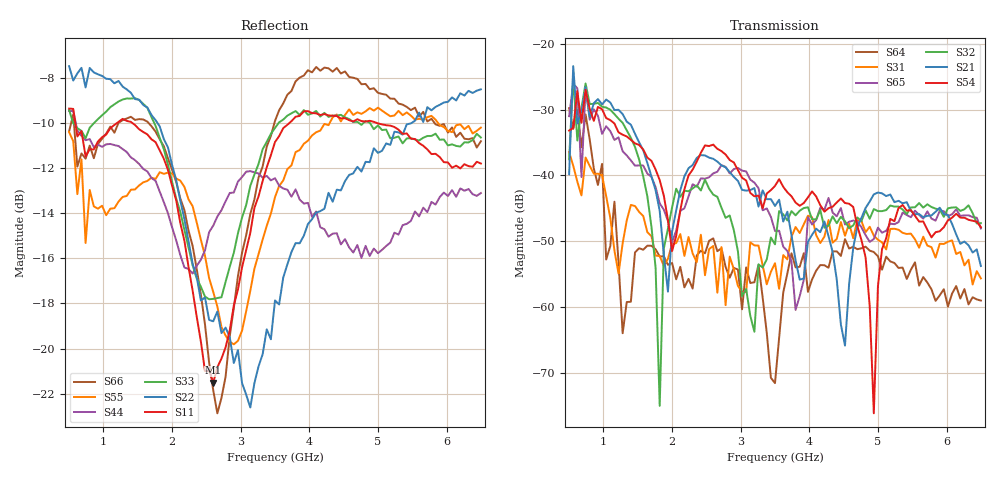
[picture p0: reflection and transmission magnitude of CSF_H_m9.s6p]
!Keysight Technologies,M9804A,MY58100912,A.14.10.03
!Date: Thursday, April 27, 2023 10:28:33
!Correction: S11(C  6-Port  )
!S12(C  6-Port  )
!S13(C  6-Port  )
!S14(C  6-Port  )
!S15(C  6-Port  )
!S16(C  6-Port  )
!S21(C  6-Port  )
!S22(C  6-Port  )
!S23(C  6-Port  )
!S24(C  6-Port  )
!S25(C  6-Port  )
!S26(C  6-Port  )
!S31(C  6-Port  )
!S32(C  6-Port  )
!S33(C  6-Port  )
!S34(C  6-Port  )
!S35(C  6-Port  )
!S36(C  6-Port  )
!S41(C  6-Port  )
!S42(C  6-Port  )
!S43(C  6-Port  )
!S44(C  6-Port  )
!S45(C  6-Port  )
!S46(C  6-Port  )
!S51(C  6-Port  )
!S52(C  6-Port  )
!S53(C  6-Port  )
!S54(C  6-Port  )
!S55(C  6-Port  )
!S56(C  6-Port  )
!S61(C  6-Port  )
!S62(C  6-Port  )
!S63(C  6-Port  )
!S64(C  6-Port  )
!S65(C  6-Port  )
!S66(C  6-Port  )
!S6P File: Measurement: :
# Hz S  RI  R 50
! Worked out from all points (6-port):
!   101 points, 500 MHz to 6.5 GHz, reference 50 ohm
!   strongest paths, dB at 500 MHz, 2 GHz, 3.5 GHz, 5 GHz, 6.5 GHz:
!     S54: -33.2, -51.5, -41.6, -56.8, -47.9
!     S21: -39.8, -48.5, -44.6, -42.6, -53.8
!     S32: -37.6, -44.9, -50.5, -45.4, -47.3
!     S65: -31.0, -50.1, -48.4, -47.9, -48.1
!     S31: -36.5, -50.4, -53.3, -49.8, -55.7
!     S64: -29.8, -53.3, -71.6, -52.3, -59.0
!   lowest |S11| = -21.5 dB at 2.6 GHz (marker M1), VSWR 1.18, Z = 42.5 + j2.15 ohm
!   |S11| at or under -10 dB: 590.4 MHz to 1.202 GHz (611.2 MHz wide, 68.2 % of centre); 1.418 GHz to 3.712 GHz (2.294 GHz wide, 89.4 % of centre); 4.978 GHz to end of sweep
